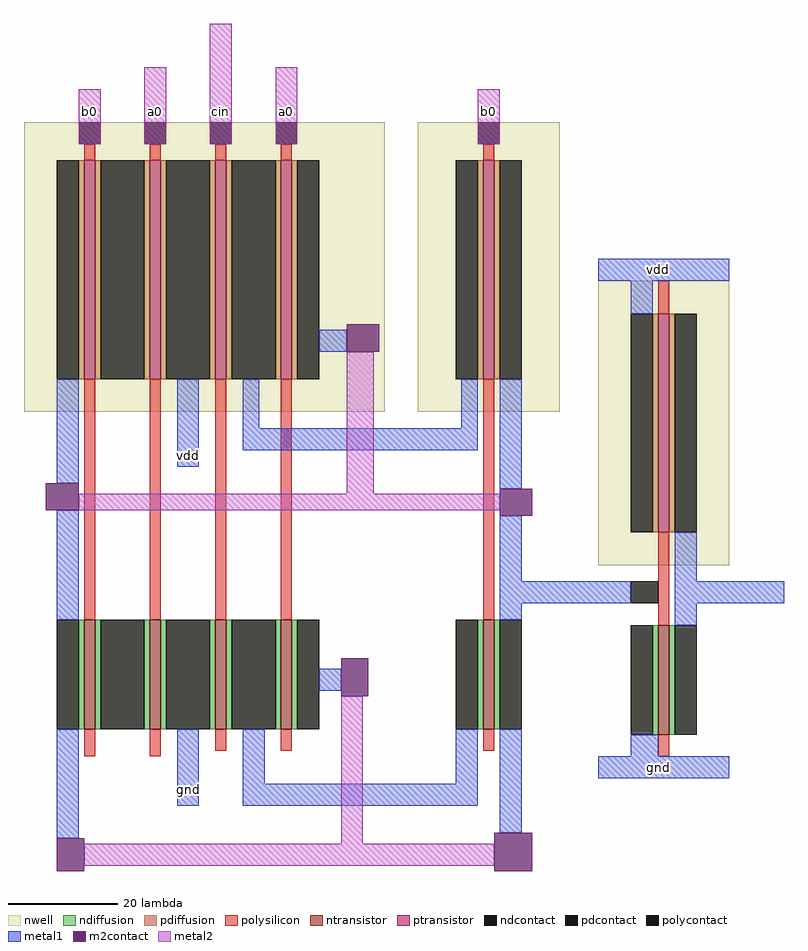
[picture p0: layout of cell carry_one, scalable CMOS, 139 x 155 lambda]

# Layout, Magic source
magic
tech scmos
<< nwell >>
rect 0 -1 66 52
rect 72 -1 98 52
rect 105 -29 129 23
<< ntransistor >>
rect 11 -59 13 -39
rect 23 -59 25 -39
rect 35 -59 37 -39
rect 47 -59 49 -39
rect 84 -59 86 -39
rect 116 -60 118 -40
<< ptransistor >>
rect 11 5 13 45
rect 23 5 25 45
rect 35 5 37 45
rect 47 5 49 45
rect 84 5 86 45
rect 116 -23 118 17
<< ndiffusion >>
rect 10 -59 11 -39
rect 13 -59 14 -39
rect 22 -59 23 -39
rect 25 -59 26 -39
rect 34 -59 35 -39
rect 37 -59 38 -39
rect 46 -59 47 -39
rect 49 -59 50 -39
rect 83 -59 84 -39
rect 86 -59 87 -39
rect 115 -60 116 -40
rect 118 -60 119 -40
<< pdiffusion >>
rect 10 5 11 45
rect 13 5 14 45
rect 22 5 23 45
rect 25 5 26 45
rect 34 5 35 45
rect 37 5 38 45
rect 46 5 47 45
rect 49 5 50 45
rect 83 5 84 45
rect 86 5 87 45
rect 115 -23 116 17
rect 118 -23 119 17
<< ndcontact >>
rect 6 -59 10 -39
rect 14 -59 22 -39
rect 26 -59 34 -39
rect 38 -59 46 -39
rect 50 -59 54 -39
rect 79 -59 83 -39
rect 87 -59 91 -39
rect 111 -60 115 -40
rect 119 -60 123 -40
<< pdcontact >>
rect 6 5 10 45
rect 14 5 22 45
rect 26 5 34 45
rect 38 5 46 45
rect 50 5 54 45
rect 79 5 83 45
rect 87 5 91 45
rect 111 -23 115 17
rect 119 -23 123 17
<< polysilicon >>
rect 11 45 13 48
rect 23 45 25 48
rect 35 45 37 48
rect 47 45 49 48
rect 84 45 86 48
rect 116 17 118 23
rect 11 -39 13 5
rect 23 -39 25 5
rect 35 -39 37 5
rect 47 -39 49 5
rect 84 -39 86 5
rect 116 -40 118 -23
rect 11 -64 13 -59
rect 23 -64 25 -59
rect 35 -63 37 -59
rect 47 -63 49 -59
rect 84 -63 86 -59
rect 116 -64 118 -60
<< polycontact >>
rect 10 48 14 52
rect 22 48 26 52
rect 34 48 38 52
rect 46 48 50 52
rect 83 48 87 52
rect 111 -36 116 -32
<< metal1 >>
rect 54 10 59 14
rect 6 -14 10 5
rect 28 -11 32 5
rect 40 -4 43 5
rect 80 -4 83 5
rect 40 -8 83 -4
rect 105 23 129 27
rect 6 -39 10 -19
rect 87 -15 91 5
rect 111 17 115 23
rect 87 -32 91 -20
rect 119 -32 123 -23
rect 87 -36 111 -32
rect 119 -36 139 -32
rect 87 -39 91 -36
rect 54 -52 58 -48
rect 6 -79 10 -59
rect 28 -73 32 -59
rect 40 -69 44 -59
rect 79 -69 83 -59
rect 40 -73 83 -69
rect 119 -40 123 -36
rect 87 -78 91 -59
rect 111 -64 116 -60
rect 105 -68 129 -64
<< m2contact >>
rect 59 10 65 15
rect 4 -19 10 -14
rect 87 -20 93 -15
rect 58 -53 63 -46
rect 6 -85 11 -79
rect 86 -85 93 -78
<< metal2 >>
rect 10 48 14 58
rect 22 48 26 62
rect 34 48 38 70
rect 46 48 50 62
rect 83 48 87 58
rect 59 -16 64 10
rect 10 -19 87 -16
rect 58 -80 62 -53
rect 11 -84 86 -80
<< labels >>
rlabel metal1 30 -70 30 -70 1 gnd
rlabel metal2 85 54 85 54 5 b0
rlabel metal1 116 25 116 25 5 vdd
rlabel metal1 116 -66 116 -66 1 gnd
rlabel metal2 12 54 12 54 5 b0
rlabel metal2 24 54 24 54 5 a0
rlabel metal2 36 54 36 54 5 cin
rlabel metal2 48 54 48 54 5 a0
rlabel metal1 30 -9 30 -9 1 vdd
<< end >>
